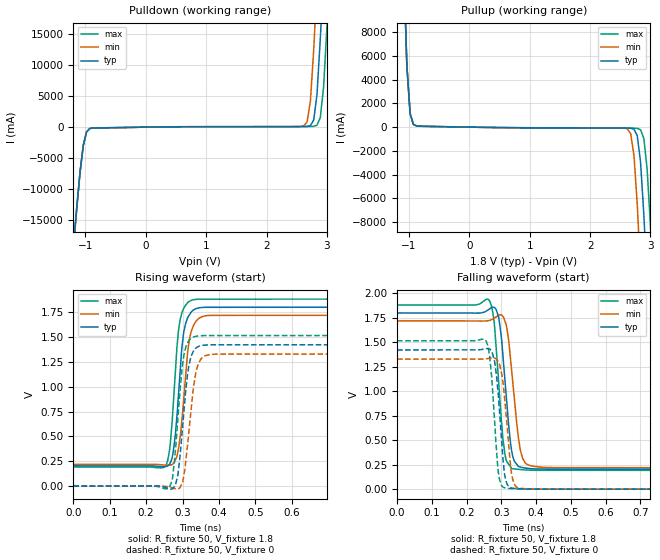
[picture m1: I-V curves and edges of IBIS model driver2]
| IBIS file inv_chain_tr20ps.ibs created by PYS2IBIS3
| Missouri S&T EMC Lab
[IBIS Ver] 7.1
[File Name] inv_chain_tr20ps.ibs
[File Rev] 1.0
[Date] Jul 27, 2026
[Source] Eight-stage inv_chain transistor model characterized with s2ibispy
[Notes] Parameter selection; sim_time=9.970e-10, tr=tf=2.000e-11.
[Component] invchain
[Manufacturer] s2ibispy study
[Package]
| variable   typ   min   max
R_pkg 0 NA NA
L_pkg 0H NA NA
C_pkg 0F NA NA
[Pin]  signal_name   model_name   R_pin   L_pin   C_pin
VSSQ   VSSQ   Gnd
VCCQ   VCCQ   Power
| IN IN dummy
PAD   PAD   driver2
| End of Component
| Models and submodels in the file (1): driver2 (Output)
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[Model] driver2
Model_type Output
Polarity Non-Inverting
Enable Active-High
Vinl  = 0.8V
Vinh  = 2V
C_comp 0.4680pF NA NA
[Temperature Range] 27.0000 27.0000 27.0000
[Voltage Range] 1.8000V 1.7000V 1.9000V
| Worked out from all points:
|   slope of the pulldown table from 0 to 0.27 V, typ, clamps not added: 6.79 ohm
|   slope of the pullup table from 0 to 0.27 V, typ, clamps not added: 12.6 ohm
|   rising waveform, R_fixture 50, V_fixture 1.8: 20-80 % time 20.6ps typ, 22.3ps min, 19.3ps max; typ from 0.204 V to 1.8 V
|   rising waveform, R_fixture 50, V_fixture 0: 20-80 % time 21.7ps typ, 23.4ps min, 20.7ps max; typ from 0 V to 1.42 V
|   falling waveform, R_fixture 50, V_fixture 1.8: 20-80 % time 22.7ps typ, 25.5ps min, 20.9ps max; typ from 1.8 V to 0.204 V
|   falling waveform, R_fixture 50, V_fixture 0: 20-80 % time 18.8ps typ, 20ps min, 17ps max; typ from 1.42 V to 0 V
[Pulldown]
| Voltage   I(typ)   I(min)   I(max)
-1.8V     -87.88A    -87.88A    -87.88A
-1.2V     -19.4A     -19.4A     -19.4A
-1.036V   -2.952A    -2.948A    -2.955A
-927.3mV  -221.8mA   -216.4mA   -227mA
2.618V    95.77mA    193.1mA    97.15mA
2.727V    244.8mA    4.224A     106.4mA
2.782V    1.151A     12.49A     132.5mA
2.836V    5.27A      23.04A     313.7mA
2.891V    14.25A     33.59A     1.533A
2.946V    24.81A     44.15A     6.464A
3V        35.36A     54.71A     16.02A
3.6V      151.5A     170.8A     132.1A
[Pullup]
| Voltage   I(typ)   I(min)   I(max)
-1.8V     151.4A     151.4A     151.4A
-1.091V   14.2A      14.19A     14.2A
-981.8mV  1.13A      1.129A     1.132A
-872.7mV  99.18mA    97.54mA    100.6mA
2.618V    -78.19mA   -142.5mA   -79.21mA
2.727V    -177.2mA   -2.408A    -86.52mA
2.782V    -728.3mA   -6.523A    -104.6mA
2.836V    -2.952A    -12.18A    -222.3mA
2.891V    -7.391A    -18.4A     -950.7mA
2.946V    -13.22A    -24.62A    -3.561A
3V        -19.44A    -30.85A    -8.297A
3.6V      -87.92A    -99.33A    -76.52A
[Ramp]
| variable   typ   min   max
dV/dt_r 0.8532/0.02163n 0.7968/0.02333n 0.9090/0.0206n
dV/dt_f 0.9575/0.02299n 0.8972/0.02484n 1.0171/0.0213n
R_load = 50
[Rising Waveform]
R_fixture = 50
V_fixture = 1.8
|time   V(typ)   V(min)   V(max)
0s        204.2mV    219.5mV    192.2mV
254.5ps   197mV      210.4mV    210.9mV
264.5ps   221.7mV    211.2mV    368.4mV
273.5ps   325.2mV    223.9mV    768.9mV
289.4ps   958.7mV    386.1mV    1.581V
302.4ps   1.53V      842mV      1.782V
320.4ps   1.733V     1.505V     1.863V
337.3ps   1.786V     1.661V     1.879V
370.3ps   1.8V       1.717V     1.882V
997ps     1.8V       1.719V     1.882V
[Rising Waveform]
R_fixture = 50
V_fixture = 0
|time   V(typ)   V(min)   V(max)
0s        13.08nV    12.76nV    13.48nV
263.5ps   -28.5mV    -9.082mV   -12.98mV
272.5ps   -26.39mV   -19.81mV   85.74mV
286.4ps   102.2mV    -28.95mV   643.8mV
300.4ps   605.6mV    39.44mV    1.232V
313.4ps   1.119V     408mV      1.439V
328.3ps   1.347V     944.3mV    1.498V
343.3ps   1.405V     1.227V     1.511V
374.2ps   1.422V     1.323V     1.515V
997ps     1.422V     1.328V     1.515V
[Falling Waveform]
R_fixture = 50
V_fixture = 1.8
|time   V(typ)   V(min)   V(max)
0s        1.8V       1.719V     1.882V
266.5ps   1.842V     1.724V     1.923V
279.4ps   1.857V     1.747V     1.707V
292.4ps   1.758V     1.777V     1.082V
309.4ps   1.151V     1.726V     373.1mV
321.4ps   644.8mV    1.515V     253.5mV
330.3ps   380.5mV    1.188V     209.3mV
354.3ps   225.3mV    404.5mV    200mV
378.2ps   211.5mV    246.6mV    194.3mV
997ps     204.2mV    219.5mV    192.2mV
[Falling Waveform]
R_fixture = 50
V_fixture = 0
|time   V(typ)   V(min)   V(max)
0s        1.422V     1.328V     1.515V
255.5ps   1.434V     1.331V     1.517V
266.5ps   1.431V     1.336V     1.36V
281.4ps   1.288V     1.338V     655.6mV
292.4ps   907.2mV    1.292V     147.9mV
301.4ps   468.2mV    1.173V     33.89mV
308.4ps   173.1mV    967.6mV    15.32mV
328.3ps   12.79mV    182.1mV    5.122mV
347.3ps   4.79mV     14.27mV    1.943mV
997ps     12.94nV    12.18nV    13.57nV
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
